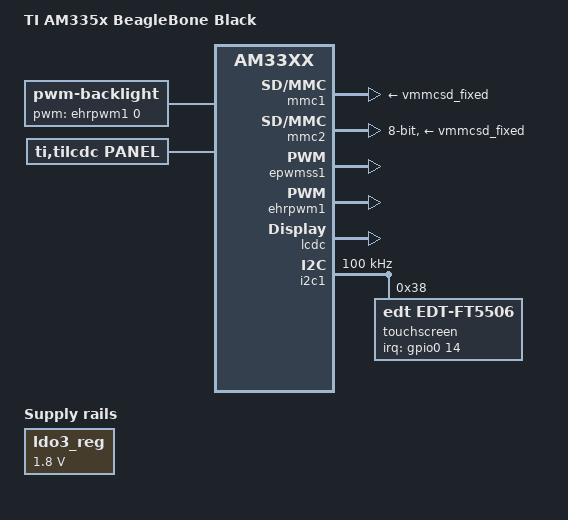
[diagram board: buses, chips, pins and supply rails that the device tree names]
/*
 * Iotech touchscreen display system
 */

/dts-v1/;

#include "am33xx.dtsi"
#include "am335x-bone-common.dtsi"

#include <dt-bindings/interrupt-controller/irq.h>

/ {
	model = "TI AM335x BeagleBone Black";
	compatible = "ti,am335x-bone-black", "ti,am33xx";
};


&ldo3_reg {
	regulator-min-microvolt = <1800000>;
	regulator-max-microvolt = <1800000>;
	regulator-always-on;
};

&mmc1 {
	vmmc-supply = <&vmmcsd_fixed>;
};

&mmc2 {
	vmmc-supply = <&vmmcsd_fixed>;
	pinctrl-names = "default";
	pinctrl-0 = <&emmc_pins>;
	bus-width = <8>;
	status = "okay";
};

&am33xx_pinmux {
	i2c1_pins: i2c1_pins {
		pinctrl-single,pins = <
			AM33XX_PADCONF(AM335X_PIN_SPI0_CS0, SLEWCTRL_SLOW | PIN_INPUT_PULLUP, MUX_MODE2)	/* P9.17, spi0_cs0.i2c1_scl */
			AM33XX_PADCONF(AM335X_PIN_SPI0_D1, SLEWCTRL_SLOW | PIN_INPUT_PULLUP, MUX_MODE2)  	/* P9.18, spi0_d1.i2c1_sda */
		>;
	};

	lcd_pins: lcd_pins {
		pinctrl-single,pins = <
			AM33XX_PADCONF(AM335X_PIN_LCD_DATA0, PIN_OUTPUT, MUX_MODE0)
			AM33XX_PADCONF(AM335X_PIN_LCD_DATA1, PIN_OUTPUT, MUX_MODE0)
			AM33XX_PADCONF(AM335X_PIN_LCD_DATA2, PIN_OUTPUT, MUX_MODE0)
			AM33XX_PADCONF(AM335X_PIN_LCD_DATA3, PIN_OUTPUT, MUX_MODE0)
			AM33XX_PADCONF(AM335X_PIN_LCD_DATA4, PIN_OUTPUT, MUX_MODE0)
			AM33XX_PADCONF(AM335X_PIN_LCD_DATA5, PIN_OUTPUT, MUX_MODE0)
			AM33XX_PADCONF(AM335X_PIN_LCD_DATA6, PIN_OUTPUT, MUX_MODE0)
			AM33XX_PADCONF(AM335X_PIN_LCD_DATA7, PIN_OUTPUT, MUX_MODE0)
			AM33XX_PADCONF(AM335X_PIN_LCD_DATA8, PIN_OUTPUT, MUX_MODE0)
			AM33XX_PADCONF(AM335X_PIN_LCD_DATA9, PIN_OUTPUT, MUX_MODE0)
			AM33XX_PADCONF(AM335X_PIN_LCD_DATA10, PIN_OUTPUT, MUX_MODE0)
			AM33XX_PADCONF(AM335X_PIN_LCD_DATA11, PIN_OUTPUT, MUX_MODE0)
			AM33XX_PADCONF(AM335X_PIN_LCD_DATA12, PIN_OUTPUT, MUX_MODE0)
			AM33XX_PADCONF(AM335X_PIN_LCD_DATA13, PIN_OUTPUT, MUX_MODE0)
			AM33XX_PADCONF(AM335X_PIN_LCD_DATA14, PIN_OUTPUT, MUX_MODE0)
			AM33XX_PADCONF(AM335X_PIN_LCD_DATA15, PIN_OUTPUT, MUX_MODE0)
			AM33XX_PADCONF(AM335X_PIN_LCD_VSYNC, PIN_OUTPUT_PULLDOWN, MUX_MODE0)
			AM33XX_PADCONF(AM335X_PIN_LCD_HSYNC, PIN_OUTPUT_PULLDOWN, MUX_MODE0)
			AM33XX_PADCONF(AM335X_PIN_LCD_PCLK, PIN_OUTPUT_PULLDOWN, MUX_MODE0)
			AM33XX_PADCONF(AM335X_PIN_LCD_AC_BIAS_EN, PIN_OUTPUT_PULLDOWN, MUX_MODE0)
			/* LCD Enable */
			AM33XX_PADCONF(AM335X_PIN_MCASP0_FSR, PIN_OUTPUT_PULLUP, MUX_MODE7)	/* P9.27, mcasp0_fsr.gpio3_19 */
		>;
	};

	backlight_pins: backlight_pins {
		pinctrl-single,pins = <
			AM33XX_PADCONF(AM335X_PIN_GPMC_A2, PIN_OUTPUT, MUX_MODE6)		/* P9.14, gpmc_a2.ehrpwm1a */
		>;
	};

	touchscreen_pins: touchscreen_pins {
		pinctrl-single,pins = <
			AM33XX_PADCONF(AM335X_PIN_UART1_RXD, PIN_INPUT_PULLUP, MUX_MODE7)	/* P9.26, uart1_rxd.gpio0_14 */
		>;
	};
};

&epwmss1 {
	status = "okay";
};

&ehrpwm1 {
	status = "okay";
	pinctrl-names = "default";
	pinctrl-0 = <&backlight_pins>;
};

&lcdc {
	status = "okay";
};

&i2c1 {
	status = "okay";

	pinctrl-names = "default";
	pinctrl-0 = <&i2c1_pins>;

	clock-frequency = <100000>;

	#address-cells = <1>;
	#size-cells = <0>;

	touchscreen: edt-ft5x06@38 {
		status = "okay";

		compatible = "edt,edt-ft5506", "edt,edt-ft5x06";

		reg = <0x38>;

		pinctrl-names = "default";
		pinctrl-0 = <&touchscreen_pins>;

		interrupt-parent = <&gpio0>;
		interrupts = <14 IRQ_TYPE_EDGE_FALLING>;

		touchscreen-size-y = <800>;
		touchscreen-size-x = <480>;

		touchscreen-swapped-x-y;
	};
};

/ {
	backlight {
		status = "okay";

		compatible = "pwm-backlight";

		pwms = <&ehrpwm1 0 500000 0>;
		brightness-levels = <
			0  1  2  3  4  5  6  7  8  9
			10 11 12 13 14 15 16 17 18 19
			20 21 22 23 24 25 26 27 28 29
			30 31 32 33 34 35 36 37 38 39
			40 41 42 43 44 45 46 47 48 49
			50 51 52 53 54 55 56 57 58 59
			60 61 62 63 64 65 66 67 68 69
			70 71 72 73 74 75 76 77 78 79
			80 81 82 83 84 85 86 87 88 89
			90 91 92 93 94 95 96 97 98 99
			100
		>;
		default-brightness-level = <100>;
	};

	panel {
		status = "okay";

		compatible = "ti,tilcdc,panel";

		pinctrl-names = "default";
		pinctrl-0 = <&lcd_pins>;

		panel-info {
			ac-bias           = <255>;
			ac-bias-intrpt    = <0>;
			dma-burst-sz      = <16>;
			bpp               = <16>;
			fdd               = <0x80>;
			sync-edge         = <0>;
			sync-ctrl         = <1>;
			raster-order      = <0>;
			fifo-th           = <0>;
		};

		display-timings {
			native-mode = <&timing0>;
			timing0: 800x480 {
				clock-frequency = <30000000>;
				hactive = <800>;
				vactive = <480>;
				hfront-porch = <40>;
				hback-porch = <40>;
				hsync-len = <48>;
				vback-porch = <30>;
				vfront-porch = <13>;
				vsync-len = <3>;
				hsync-active = <0>;
				vsync-active = <0>;
				de-active = <1>;
				pixelclk-active = <0>;
			};
		};

		fb {
			compatible = "ti,am33xx-tilcdc";
			reg = <0x4830e000 0x1000>;
			interrupt-parent = <&intc>;
			interrupts = <36>;
			ti,hwmods = "lcdc";
		};
	};
};
